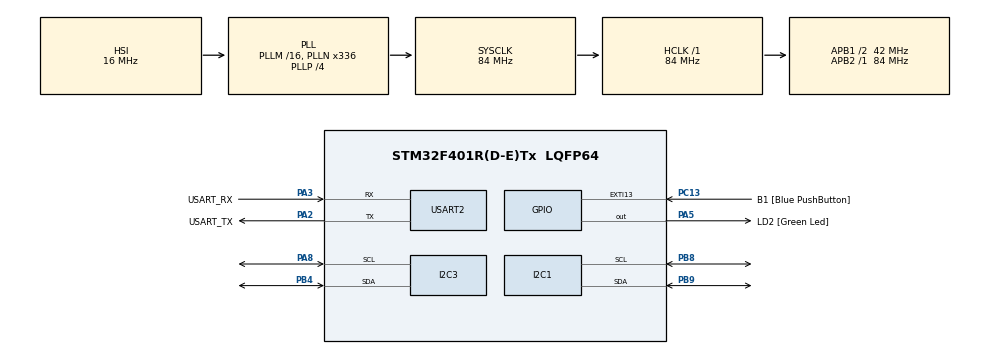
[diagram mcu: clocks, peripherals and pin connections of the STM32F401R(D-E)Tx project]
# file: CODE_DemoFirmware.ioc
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Mcu.Family=STM32F4
Mcu.Name=STM32F401R(D-E)Tx
Mcu.Package=LQFP64
NVIC.PriorityGroup=NVIC_PRIORITYGROUP_4
NVIC.TIM1_TRG_COM_TIM11_IRQn=true\:0\:0\:false\:false\:true\:true\:true\:true
PA13.GPIO_Label=TMS
PA13.Mode=Serial_Wire
PA13.Signal=SYS_JTMS-SWDIO
PA14.GPIO_Label=TCK
PA14.Mode=Serial_Wire
PA14.Signal=SYS_JTCK-SWCLK
PA2.GPIO_Label=USART_TX
PA2.GPIO_Mode=GPIO_MODE_AF_PP
PA2.GPIO_PuPd=GPIO_NOPULL
PA2.GPIO_Speed=GPIO_SPEED_FREQ_LOW
PA2.Mode=Asynchronous
PA2.Signal=USART2_TX
PA3.GPIO_Label=USART_RX
PA3.GPIO_Mode=GPIO_MODE_AF_PP
PA3.GPIO_PuPd=GPIO_NOPULL
PA3.GPIO_Speed=GPIO_SPEED_FREQ_LOW
PA3.Mode=Asynchronous
PA3.Signal=USART2_RX
PA5.GPIO_Label=LD2 [Green Led]
PA5.GPIO_Mode=GPIO_MODE_OUTPUT_PP
PA5.GPIO_PuPd=GPIO_NOPULL
PA5.GPIO_Speed=GPIO_SPEED_FREQ_LOW
PA5.Signal=GPIO_Output
PA8.GPIO_Pu=GPIO_PULLUP
PA8.Mode=I2C
PA8.Signal=I2C3_SCL
PB3.GPIO_Label=SWO
PB3.Signal=SYS_JTDO-SWO
PB4.GPIO_Pu=GPIO_PULLUP
PB4.Mode=I2C
PB4.Signal=I2C3_SDA
PB8.GPIO_Pu=GPIO_PULLUP
PB8.Mode=I2C
PB8.Signal=I2C1_SCL
PB9.GPIO_Pu=GPIO_PULLUP
PB9.Mode=I2C
PB9.Signal=I2C1_SDA
PC13-ANTI_TAMP.GPIO_Label=B1 [Blue PushButton]
PC13-ANTI_TAMP.GPIO_ModeDefaultEXTI=GPIO_MODE_IT_FALLING
PC13-ANTI_TAMP.GPIO_PuPd=GPIO_NOPULL
PC13-ANTI_TAMP.Signal=GPXTI13
PC14-OSC32_IN.Mode=LSE-External-Oscillator
PC14-OSC32_IN.Signal=RCC_OSC32_IN
PC15-OSC32_OUT.Mode=LSE-External-Oscillator
PC15-OSC32_OUT.Signal=RCC_OSC32_OUT
PH0\ -\ OSC_IN.Mode=HSE-External-Clock-Source
PH0\ -\ OSC_IN.Signal=RCC_OSC_IN
PH1\ -\ OSC_OUT.Mode=HSE-External-Clock-Source
PH1\ -\ OSC_OUT.Signal=RCC_OSC_OUT
ProjectManager.HeapSize=0x200
ProjectManager.StackSize=0x400
ProjectManager.TargetToolchain=MDK-ARM V5.32
RCC.48MHZClocksFreq_Value=48000000
RCC.AHBFreq_Value=84000000
RCC.APB1CLKDivider=RCC_HCLK_DIV2
RCC.APB1Freq_Value=42000000
RCC.APB1TimFreq_Value=84000000
RCC.APB2Freq_Value=84000000
RCC.APB2TimFreq_Value=84000000
RCC.CortexFreq_Value=84000000
RCC.HCLKFreq_Value=84000000
RCC.HSE_VALUE=8000000
RCC.HSI_VALUE=16000000
RCC.PLLN=336
RCC.PLLP=RCC_PLLP_DIV4
RCC.PLLQ=7
RCC.SYSCLKFreq_VALUE=84000000
RCC.SYSCLKSource=RCC_SYSCLKSOURCE_PLLCLK
RCC.VCOOutputFreq_Value=336000000
TIM11.Period=1999
TIM11.Prescaler=41999
USART2.VirtualMode=VM_ASYNC
VP_TIM11_VS_ClockSourceINT.Mode=Enable_Timer
board=NUCLEO-F401RE

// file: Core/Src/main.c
/* USER CODE BEGIN Header */
/**
  ******************************************************************************
  * @file           : main.c
  * @brief          : Main program body
  ******************************************************************************
  * @attention
  *
  * Copyright (c) 2026 STMicroelectronics.
  * All rights reserved.
  *
  * This software is licensed under terms that can be found in the LICENSE file
  * in the root directory of this software component.
  * If no LICENSE file comes with this software, it is provided AS-IS.
  *
  ******************************************************************************
  */
/* USER CODE END Header */
#include "main.h"

/* USER CODE BEGIN Includes */
#include "stm32f4xx_hal.h"
#include <stdio.h>
#include "liquidcrystal_i2c.h"
#include "ina226.h"
#include <string.h>
#include <stdbool.h>
/* USER CODE END Includes */

/* USER CODE BEGIN PM */
#define INA226_ADDR (0x40 << 1) // 7-bit adresas <<1 HAL'ui
/* USER CODE END PM */

I2C_HandleTypeDef hi2c1;
I2C_HandleTypeDef hi2c3;

TIM_HandleTypeDef htim11;

UART_HandleTypeDef huart2;

void SystemClock_Config(void);
static void MX_GPIO_Init(void);
static void MX_USART2_UART_Init(void);
static void MX_I2C1_Init(void);
static void MX_I2C3_Init(void);
static void MX_TIM11_Init(void);

/* USER CODE BEGIN 0 */
// ADDRESS INA226 yra 0x44
//Sroves kintamieji
float current = 0;
int current2 = 100;
int current3 = 100;
float current_AVG = 0;
uint8_t current_raw[2];
//Displejaus kintamieji
char reading[9];
char variables[16];
char header[] = "Sroves AVG: ";
char Display[16];
char HUART_MESSAGE[50];
int HUART_MESSAGE_LENGTH;
uint8_t rx[2]; //INA226 veikimo patikros kintamasis
//Logikos elementai
bool activate_read = false;
bool activate_display1 = false;
bool activate_display2 = false;
int display_wait = 0;
bool one_push = false;
int push_count = 0;
bool current2_ON = true;
//Sroves mygtuku zingsnis
#define CURRENT_STEP 10
/* 1sec intervalo pertrauktis */
void HAL_TIM_PeriodElapsedCallback(TIM_HandleTypeDef *htim)
{
	activate_display2 = false;
	if(push_count ==2) // Keiciame mygtuko rezima kai du kartus per sekunde paspaudei
	{
		if (current2_ON == true)
		{
			current2_ON = false;
			current2 = current2 - 20;
		}
		else if (current2_ON == false)
		{
			current2_ON = true;
			current3 = current3 - 20;
			if (current3 < 0) // apsauga kad treciasis kanalas nepervestu neigiamos sroves kai pakeicia rezimus
			{
				current3 = 110 + current3;
			}
		}
	}
	if (current2 > 100) // Paspaudus virs 100 grizta prie 0
	{
		current2 = 0;
	}
	if (current3 > 100)
	{
		current3 = 0;
	}
	push_count = 0;
	activate_read = true; // nuskaitymo aktyvavimas kiekviena sekunde
	display_wait++;
	if(display_wait == 2) // vaizdavimo aktyvavimas antra sekunde
	{
		activate_display1 = true;
		display_wait = 0;
	}
}
/* USER CODE END 0 */

int main(void)
{

  /* MCU Configuration--------------------------------------------------------*/

  /* Reset of all peripherals, Initializes the Flash interface and the Systick. */
  HAL_Init();

  /* Configure the system clock */
  SystemClock_Config();

  /* Initialize all configured peripherals */
  MX_GPIO_Init();
  MX_USART2_UART_Init();
  MX_I2C1_Init();
  MX_I2C3_Init();
  MX_TIM11_Init();
  /* USER CODE BEGIN 2 */
	HAL_TIM_Base_Start_IT(&htim11); // pradedame TIM11
	ina226_handle ina226;
	ina226_init(&ina226, &hi2c1, V_BUS_2_116ms | V_SHUNT_2_116ms | CONTINUOUS_MODE_ALL);
	ina226_set_cal_reg(&ina226);
	HD44780_Init(2);
	HAL_I2C_Mem_Read(&hi2c1, 0x44 << 1, 0x00, I2C_MEMADD_SIZE_8BIT, rx, 2, HAL_MAX_DELAY); // Patikra ar isijunge INA226
  /* USER CODE END 2 */

  /* Infinite loop */
  /* USER CODE BEGIN WHILE */
  while (1)
  {
		if (activate_read == true) //Nuskaitymo funkcija
		{
			if (check_if_conversion_ready(&ina226) == INA_CONVERSION_READY)
			{
      current = 1000 * (ina226_current_via_reg(&ina226)); // konvertuojame i mA
			if(current < 0.05) // jeigu nera musu matavimo ribose tai skaitome kaip 0 mA
			{
				current = 0;
			}
			}
			current_AVG = current_AVG + current + current2 + current3;
			activate_read = false;
			activate_display2 = true;
			if (activate_display1 == false) // Nuskaitymo UART persiuntimas
			{
				sprintf(HUART_MESSAGE, "Sroves AVG: %.1f | Variables: /%.1f /%d /%d \n", current_AVG/3, current, current2, current3);
				HUART_MESSAGE_LENGTH = strlen(HUART_MESSAGE);
				HAL_UART_Transmit(&huart2, (uint8_t*)HUART_MESSAGE, HUART_MESSAGE_LENGTH, 10);
			}
		}
		// 2 logikos kintamieji del sinchronizavimo
		if(activate_display1 == true && activate_display2 == true) //Displejaus atnaujinimo funkcija
		{
			current_AVG = current_AVG/6; // paskutiniu 2 nuskaitymu vidurkis
			HD44780_Clear();
			strcpy(Display, header);
			sprintf(reading, "%.1f", current_AVG); // Virsutinis lygis parodo vidurki
			strcat(Display, reading);
			HD44780_SetCursor(0, 0);
			HD44780_PrintStr(Display);
			sprintf(variables, "/%.1f /%d /%d", current, current2, current3); // apatinis lygis rodo kintamuosius dabartinius
			HD44780_SetCursor(0, 1);
			HD44780_PrintStr(variables);
			sprintf(HUART_MESSAGE, "Sroves AVG: %.1f | Variables: /%.1f /%d /%d \n", current_AVG, current, current2, current3); // Displejaus UART persiuntimas
			HUART_MESSAGE_LENGTH = strlen(HUART_MESSAGE);
			HAL_UART_Transmit(&huart2, (uint8_t*)HUART_MESSAGE, HUART_MESSAGE_LENGTH, 10);
			current_AVG = 0;
			activate_display1 = false;
			activate_display2 = false;
		}
		//Mygtuko logika
		if (HAL_GPIO_ReadPin(B1_GPIO_Port, B1_Pin) == GPIO_PIN_RESET && current2_ON == true &&one_push == true)
		{
			push_count = push_count + 1;
			current2 = current2 + CURRENT_STEP;
			one_push = false;
		}
		if (HAL_GPIO_ReadPin(B1_GPIO_Port, B1_Pin) == GPIO_PIN_RESET && current2_ON == false &&one_push == true)
		{
			push_count = push_count + 1;
			current3 = current3 + CURRENT_STEP;
			if (current3 > 100)
			{
				current3 = 0;
			}
			one_push = false;
		}
		if (HAL_GPIO_ReadPin(B1_GPIO_Port, B1_Pin) == GPIO_PIN_SET) //Logika garantuoja tik 1 zingsnio pokyti kai paspaudziamas mygtukas
		{
			one_push = true;
		}
    /* USER CODE END WHILE */

    /* USER CODE BEGIN 3 */
  }
return 0;
  /* USER CODE END 3 */
}

void SystemClock_Config(void)
{
  RCC_OscInitTypeDef RCC_OscInitStruct = {0};
  RCC_ClkInitTypeDef RCC_ClkInitStruct = {0};

  /** Configure the main internal regulator output voltage
  */
  __HAL_RCC_PWR_CLK_ENABLE();
  __HAL_PWR_VOLTAGESCALING_CONFIG(PWR_REGULATOR_VOLTAGE_SCALE2);

  /** Initializes the RCC Oscillators according to the specified parameters
  * in the RCC_OscInitTypeDef structure.
  */
  RCC_OscInitStruct.OscillatorType = RCC_OSCILLATORTYPE_HSI;
  RCC_OscInitStruct.HSIState = RCC_HSI_ON;
  RCC_OscInitStruct.HSICalibrationValue = RCC_HSICALIBRATION_DEFAULT;
  RCC_OscInitStruct.PLL.PLLState = RCC_PLL_ON;
  RCC_OscInitStruct.PLL.PLLSource = RCC_PLLSOURCE_HSI;
  RCC_OscInitStruct.PLL.PLLM = 16;
  RCC_OscInitStruct.PLL.PLLN = 336;
  RCC_OscInitStruct.PLL.PLLP = RCC_PLLP_DIV4;
  RCC_OscInitStruct.PLL.PLLQ = 7;
  if (HAL_RCC_OscConfig(&RCC_OscInitStruct) != HAL_OK)
  {
    Error_Handler();
  }

  /** Initializes the CPU, AHB and APB buses clocks
  */
  RCC_ClkInitStruct.ClockType = RCC_CLOCKTYPE_HCLK|RCC_CLOCKTYPE_SYSCLK
                              |RCC_CLOCKTYPE_PCLK1|RCC_CLOCKTYPE_PCLK2;
  RCC_ClkInitStruct.SYSCLKSource = RCC_SYSCLKSOURCE_PLLCLK;
  RCC_ClkInitStruct.AHBCLKDivider = RCC_SYSCLK_DIV1;
  RCC_ClkInitStruct.APB1CLKDivider = RCC_HCLK_DIV2;
  RCC_ClkInitStruct.APB2CLKDivider = RCC_HCLK_DIV1;

  if (HAL_RCC_ClockConfig(&RCC_ClkInitStruct, FLASH_LATENCY_2) != HAL_OK)
  {
    Error_Handler();
  }
}

static void MX_I2C1_Init(void)
{

  hi2c1.Instance = I2C1;
  hi2c1.Init.ClockSpeed = 100000;
  hi2c1.Init.DutyCycle = I2C_DUTYCYCLE_2;
  hi2c1.Init.OwnAddress1 = 0;
  hi2c1.Init.AddressingMode = I2C_ADDRESSINGMODE_7BIT;
  hi2c1.Init.DualAddressMode = I2C_DUALADDRESS_DISABLE;
  hi2c1.Init.OwnAddress2 = 0;
  hi2c1.Init.GeneralCallMode = I2C_GENERALCALL_DISABLE;
  hi2c1.Init.NoStretchMode = I2C_NOSTRETCH_DISABLE;
  if (HAL_I2C_Init(&hi2c1) != HAL_OK)
  {
    Error_Handler();
  }

}

static void MX_I2C3_Init(void)
{

  hi2c3.Instance = I2C3;
  hi2c3.Init.ClockSpeed = 100000;
  hi2c3.Init.DutyCycle = I2C_DUTYCYCLE_2;
  hi2c3.Init.OwnAddress1 = 0;
  hi2c3.Init.AddressingMode = I2C_ADDRESSINGMODE_7BIT;
  hi2c3.Init.DualAddressMode = I2C_DUALADDRESS_DISABLE;
  hi2c3.Init.OwnAddress2 = 0;
  hi2c3.Init.GeneralCallMode = I2C_GENERALCALL_DISABLE;
  hi2c3.Init.NoStretchMode = I2C_NOSTRETCH_DISABLE;
  if (HAL_I2C_Init(&hi2c3) != HAL_OK)
  {
    Error_Handler();
  }

}

static void MX_TIM11_Init(void)
{

  htim11.Instance = TIM11;
  htim11.Init.Prescaler = 41999;
  htim11.Init.CounterMode = TIM_COUNTERMODE_UP;
  htim11.Init.Period = 1999;
  htim11.Init.ClockDivision = TIM_CLOCKDIVISION_DIV1;
  htim11.Init.AutoReloadPreload = TIM_AUTORELOAD_PRELOAD_DISABLE;
  if (HAL_TIM_Base_Init(&htim11) != HAL_OK)
  {
    Error_Handler();
  }

}

static void MX_USART2_UART_Init(void)
{

  huart2.Instance = USART2;
  huart2.Init.BaudRate = 115200;
  huart2.Init.WordLength = UART_WORDLENGTH_8B;
  huart2.Init.StopBits = UART_STOPBITS_1;
  huart2.Init.Parity = UART_PARITY_NONE;
  huart2.Init.Mode = UART_MODE_TX_RX;
  huart2.Init.HwFlowCtl = UART_HWCONTROL_NONE;
  huart2.Init.OverSampling = UART_OVERSAMPLING_16;
  if (HAL_UART_Init(&huart2) != HAL_OK)
  {
    Error_Handler();
  }

}

static void MX_GPIO_Init(void)
{
  GPIO_InitTypeDef GPIO_InitStruct = {0};

  /* GPIO Ports Clock Enable */
  __HAL_RCC_GPIOC_CLK_ENABLE();
  __HAL_RCC_GPIOH_CLK_ENABLE();
  __HAL_RCC_GPIOA_CLK_ENABLE();
  __HAL_RCC_GPIOB_CLK_ENABLE();

  /*Configure GPIO pin Output Level */
  HAL_GPIO_WritePin(LD2_GPIO_Port, LD2_Pin, GPIO_PIN_RESET);

  /*Configure GPIO pin : B1_Pin */
  GPIO_InitStruct.Pin = B1_Pin;
  GPIO_InitStruct.Mode = GPIO_MODE_IT_FALLING;
  GPIO_InitStruct.Pull = GPIO_NOPULL;
  HAL_GPIO_Init(B1_GPIO_Port, &GPIO_InitStruct);

  /*Configure GPIO pin : LD2_Pin */
  GPIO_InitStruct.Pin = LD2_Pin;
  GPIO_InitStruct.Mode = GPIO_MODE_OUTPUT_PP;
  GPIO_InitStruct.Pull = GPIO_NOPULL;
  GPIO_InitStruct.Speed = GPIO_SPEED_FREQ_LOW;
  HAL_GPIO_Init(LD2_GPIO_Port, &GPIO_InitStruct);

}

void Error_Handler(void)
{
  __disable_irq();
  while (1)
  {
  }
}
